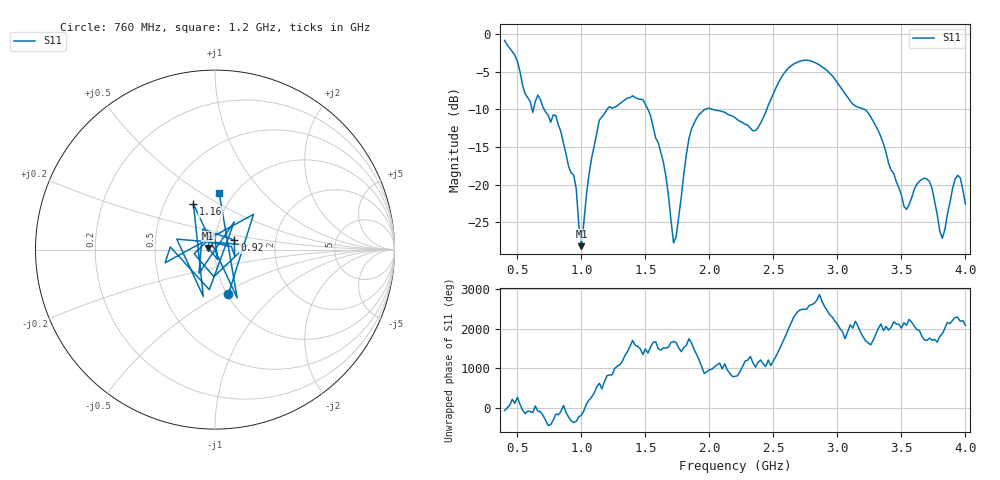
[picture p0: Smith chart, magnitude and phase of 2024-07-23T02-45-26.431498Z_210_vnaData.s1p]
!Created with skrf (http://scikit-rf.org).
# Hz S RI R 50.0
!freq ReS11 ImS11
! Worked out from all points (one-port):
!   181 points, 400 MHz to 4 GHz, reference 50 ohm
!   lowest |S11| = -28.1 dB at 1 GHz (marker M1), VSWR 1.08, Z = 46.3 + j0.874 ohm
!   |S11| at or under -10 dB: 709.4 MHz to 1.199 GHz (489.7 MHz wide, 51.3 % of centre); 1.521 GHz to 1.963 GHz (442.1 MHz wide, 25.4 % of centre); 3.213 GHz to end of sweep (the widest 3 of 5)
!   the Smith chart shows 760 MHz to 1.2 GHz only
!   S11 on the Smith chart (normalised r, x): 760 MHz: 1.01, -0.54; 920 MHz: 1.23, +0.13; 1.16 GHz: 0.70, +0.39; 1.2 GHz: 0.85, +0.60
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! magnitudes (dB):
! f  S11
! 400 MHz  -0.8
! 620 MHz  -10.4
! 660 MHz  -8.1
! 760 MHz  -11.7
! 860 MHz  -14.5
! 920 MHz  -18.4
! 960 MHz  -20.6
! 1 GHz  -28.1
! 1.06 GHz  -18.6
! 1.16 GHz  -11.0
! 1.2 GHz  -10.0
! 1.3 GHz  -9.2
! 1.52 GHz  -10.0
! 1.64 GHz  -17.0
! 1.72 GHz  -27.7
! 1.76 GHz  -24.3
! 1.84 GHz  -13.9
! 1.9 GHz  -11.2
! 2.2 GHz  -11.1
! 2.36 GHz  -12.8
! 2.66 GHz  -3.9
! 3.1 GHz  -8.9
! 3.26 GHz  -11.0
! 3.56 GHz  -22.6
! 3.72 GHz  -19.6
! 3.82 GHz  -27.1
! 3.92 GHz  -19.2
! 4 GHz  -22.6
